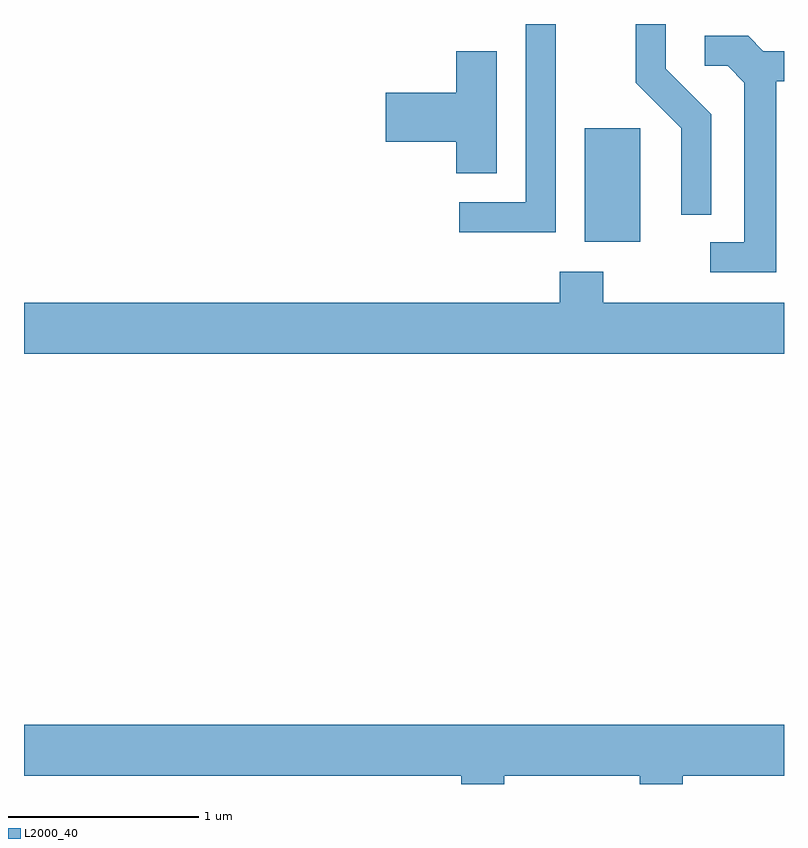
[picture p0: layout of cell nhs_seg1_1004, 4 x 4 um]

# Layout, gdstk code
import gdstk
lib = gdstk.Library(unit=1e-6, precision=1e-09)
def R(c, l, rs):  # rectangles x0, y0, x1, y1
    for r in rs: c.add(gdstk.rectangle(r[:2], r[2:], *l))
def P(c, l, *ps):  # polygons
    for p in ps: c.add(gdstk.Polygon(p, *l))
L2000_40 = (2000, 40)

nhs_seg1_1004 = lib.new_cell('nhs_seg1_1004')
R(nhs_seg1_1004, L2000_40, [(218.561,944.566,218.854,945.164)])
P(nhs_seg1_1004, L2000_40, [(218.409,945.712),(218.251,945.712),(218.251,944.774),(217.903,944.774),(217.903,944.616),(218.409,944.616)],
  [(219.229,945.237),(218.989,945.477),(218.989,945.712),(218.831,945.712),(218.831,945.404),(219.071,945.164),(219.071,944.708),(219.229,944.708)],
  [(219.569,945.411),(219.611,945.411),(219.611,945.569),(219.502,945.569),(219.422,945.649),(219.193,945.649),(219.193,945.491),(219.314,945.491),(219.401,945.404),(219.401,944.564),(219.223,944.564),(219.223,944.406),(219.569,944.406)],
  [(218.099,945.569),(217.886,945.569),(217.886,945.349),(217.516,945.349),(217.516,945.091),(217.886,945.091),(217.886,944.926),(218.099,944.926)],
  [(219.611,944.244),(218.659,944.244),(218.659,944.409),(218.431,944.409),(218.431,944.244),(215.611,944.244),(215.611,943.976),(219.611,943.976)],
  [(218.139,941.756),(218.851,941.756),(218.851,941.712),(219.079,941.712),(219.079,941.756),(219.611,941.756),(219.611,942.024),(215.611,942.024),(215.611,941.756),(217.911,941.756),(217.911,941.712),(218.139,941.712)])

lib.write_gds('nhs_seg1_1004.gds')
